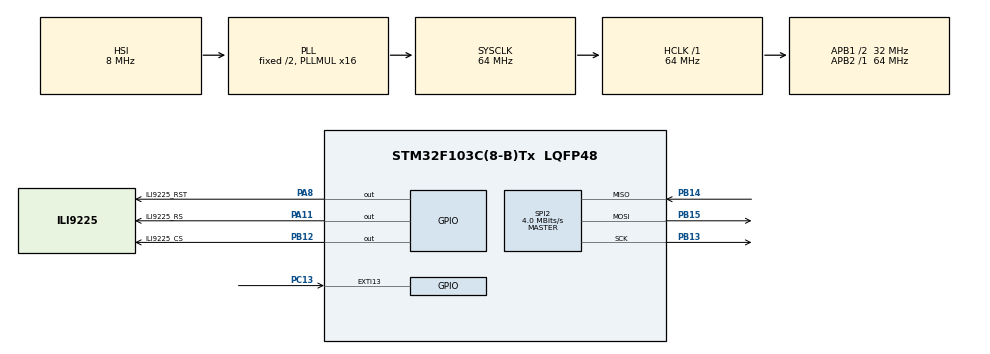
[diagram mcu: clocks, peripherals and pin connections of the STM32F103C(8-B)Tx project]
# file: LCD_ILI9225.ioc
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Mcu.Family=STM32F1
Mcu.Name=STM32F103C(8-B)Tx
Mcu.Package=LQFP48
NVIC.PriorityGroup=NVIC_PRIORITYGROUP_4
PA11.GPIO_Label=ILI9225_RS
PA11.Signal=GPIO_Output
PA13.Mode=Serial_Wire
PA13.Signal=SYS_JTMS-SWDIO
PA14.Mode=Serial_Wire
PA14.Signal=SYS_JTCK-SWCLK
PA8.GPIO_Label=ILI9225_RST
PA8.Signal=GPIO_Output
PB12.GPIO_Label=ILI9225_CS
PB12.Signal=GPIO_Output
PB13.Mode=Full_Duplex_Master
PB13.Signal=SPI2_SCK
PB14.Mode=Full_Duplex_Master
PB14.Signal=SPI2_MISO
PB15.Mode=Full_Duplex_Master
PB15.Signal=SPI2_MOSI
PC13-TAMPER-RTC.Signal=GPXTI13
PD0-OSC_IN.Mode=HSE-External-Oscillator
PD0-OSC_IN.Signal=RCC_OSC_IN
PD1-OSC_OUT.Mode=HSE-External-Oscillator
PD1-OSC_OUT.Signal=RCC_OSC_OUT
ProjectManager.HeapSize=0x200
ProjectManager.StackSize=0x400
ProjectManager.TargetToolchain=STM32CubeIDE
RCC.AHBFreq_Value=64000000
RCC.APB1CLKDivider=RCC_HCLK_DIV2
RCC.APB1Freq_Value=32000000
RCC.APB1TimFreq_Value=64000000
RCC.APB2Freq_Value=64000000
RCC.APB2TimFreq_Value=64000000
RCC.HCLKFreq_Value=64000000
RCC.PLLMUL=RCC_PLL_MUL16
RCC.SYSCLKFreq_VALUE=64000000
RCC.SYSCLKSource=RCC_SYSCLKSOURCE_PLLCLK
RCC.USBFreq_Value=64000000
SPI2.BaudRatePrescaler=SPI_BAUDRATEPRESCALER_8
SPI2.CLKPhase=SPI_PHASE_2EDGE
SPI2.CLKPolarity=SPI_POLARITY_HIGH
SPI2.CalculateBaudRate=4.0 MBits/s
SPI2.Direction=SPI_DIRECTION_2LINES
SPI2.Mode=SPI_MODE_MASTER
SPI2.VirtualType=VM_MASTER
board=custom

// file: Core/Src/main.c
/* USER CODE BEGIN Header */
/**
  ******************************************************************************
  * @file           : main.c
  * @brief          : Main program body
  ******************************************************************************
  * @attention
  *
  * Copyright (c) 2025 STMicroelectronics.
  * All rights reserved.
  *
  * This software is licensed under terms that can be found in the LICENSE file
  * in the root directory of this software component.
  * If no LICENSE file comes with this software, it is provided AS-IS.
  *
  ******************************************************************************
  */
/* USER CODE END Header */
#include "main.h"

/* USER CODE BEGIN Includes */

#include "ili9225.h"
#include "display.h"
#include <time.h>

/* USER CODE END Includes */

SPI_HandleTypeDef hspi2;

void SystemClock_Config(void);
static void MX_GPIO_Init(void);
static void MX_SPI2_Init(void);

int main(void)
{

  /* MCU Configuration--------------------------------------------------------*/

  /* Reset of all peripherals, Initializes the Flash interface and the Systick. */
  HAL_Init();

  /* Configure the system clock */
  SystemClock_Config();

  /* Initialize all configured peripherals */
  MX_GPIO_Init();
  MX_SPI2_Init();
  /* USER CODE BEGIN 2 */

  ILI9225_Init();

  display_init();

  time_t current_time = 1729594471; // Example: Wed Oct 22 14:04:31 2025
  float temperature = 25.7;
  float humidity = 75.0;
  bool wifi_connected = true;
  bool periodic_enabled = false;
  int update_interval = 5;

  /* USER CODE END 2 */

  /* Infinite loop */
  while (1)
  {

    /* USER CODE BEGIN 3 */

	   display_update(current_time, temperature, humidity,
		                       wifi_connected, periodic_enabled, update_interval);

		         /* Simulate time passing */
		         HAL_Delay(1000);
		         current_time++;

		         /* Simulate data changes every 10 seconds */
		         if (current_time % 10 == 0)
		         {
		             temperature += 0.1;
		             humidity -= 0.5;
		             if (humidity < 50.0) humidity = 75.0;
		         }
  }
  /* USER CODE END 3 */
}

void SystemClock_Config(void)
{
  RCC_OscInitTypeDef RCC_OscInitStruct = {0};
  RCC_ClkInitTypeDef RCC_ClkInitStruct = {0};

  /** Initializes the RCC Oscillators according to the specified parameters
  * in the RCC_OscInitTypeDef structure.
  */
  RCC_OscInitStruct.OscillatorType = RCC_OSCILLATORTYPE_HSI;
  RCC_OscInitStruct.HSIState = RCC_HSI_ON;
  RCC_OscInitStruct.HSICalibrationValue = RCC_HSICALIBRATION_DEFAULT;
  RCC_OscInitStruct.PLL.PLLState = RCC_PLL_ON;
  RCC_OscInitStruct.PLL.PLLSource = RCC_PLLSOURCE_HSI_DIV2;
  RCC_OscInitStruct.PLL.PLLMUL = RCC_PLL_MUL16;
  if (HAL_RCC_OscConfig(&RCC_OscInitStruct) != HAL_OK)
  {
    Error_Handler();
  }

  /** Initializes the CPU, AHB and APB buses clocks
  */
  RCC_ClkInitStruct.ClockType = RCC_CLOCKTYPE_HCLK|RCC_CLOCKTYPE_SYSCLK
                              |RCC_CLOCKTYPE_PCLK1|RCC_CLOCKTYPE_PCLK2;
  RCC_ClkInitStruct.SYSCLKSource = RCC_SYSCLKSOURCE_PLLCLK;
  RCC_ClkInitStruct.AHBCLKDivider = RCC_SYSCLK_DIV1;
  RCC_ClkInitStruct.APB1CLKDivider = RCC_HCLK_DIV2;
  RCC_ClkInitStruct.APB2CLKDivider = RCC_HCLK_DIV1;

  if (HAL_RCC_ClockConfig(&RCC_ClkInitStruct, FLASH_LATENCY_2) != HAL_OK)
  {
    Error_Handler();
  }
}

static void MX_SPI2_Init(void)
{

  /* SPI2 parameter configuration*/
  hspi2.Instance = SPI2;
  hspi2.Init.Mode = SPI_MODE_MASTER;
  hspi2.Init.Direction = SPI_DIRECTION_2LINES;
  hspi2.Init.DataSize = SPI_DATASIZE_8BIT;
  hspi2.Init.CLKPolarity = SPI_POLARITY_HIGH;
  hspi2.Init.CLKPhase = SPI_PHASE_2EDGE;
  hspi2.Init.NSS = SPI_NSS_SOFT;
  hspi2.Init.BaudRatePrescaler = SPI_BAUDRATEPRESCALER_8;
  hspi2.Init.FirstBit = SPI_FIRSTBIT_MSB;
  hspi2.Init.TIMode = SPI_TIMODE_DISABLE;
  hspi2.Init.CRCCalculation = SPI_CRCCALCULATION_DISABLE;
  hspi2.Init.CRCPolynomial = 10;
  if (HAL_SPI_Init(&hspi2) != HAL_OK)
  {
    Error_Handler();
  }

}

static void MX_GPIO_Init(void)
{
  GPIO_InitTypeDef GPIO_InitStruct = {0};

  /* GPIO Ports Clock Enable */
  __HAL_RCC_GPIOC_CLK_ENABLE();
  __HAL_RCC_GPIOD_CLK_ENABLE();
  __HAL_RCC_GPIOB_CLK_ENABLE();
  __HAL_RCC_GPIOA_CLK_ENABLE();

  /*Configure GPIO pin Output Level */
  HAL_GPIO_WritePin(ILI9225_CS_GPIO_Port, ILI9225_CS_Pin, GPIO_PIN_RESET);

  /*Configure GPIO pin Output Level */
  HAL_GPIO_WritePin(GPIOA, ILI9225_RST_Pin|ILI9225_RS_Pin, GPIO_PIN_RESET);

  /*Configure GPIO pin : PC13 */
  GPIO_InitStruct.Pin = GPIO_PIN_13;
  GPIO_InitStruct.Mode = GPIO_MODE_IT_RISING;
  GPIO_InitStruct.Pull = GPIO_NOPULL;
  HAL_GPIO_Init(GPIOC, &GPIO_InitStruct);

  /*Configure GPIO pin : ILI9225_CS_Pin */
  GPIO_InitStruct.Pin = ILI9225_CS_Pin;
  GPIO_InitStruct.Mode = GPIO_MODE_OUTPUT_PP;
  GPIO_InitStruct.Pull = GPIO_NOPULL;
  GPIO_InitStruct.Speed = GPIO_SPEED_FREQ_LOW;
  HAL_GPIO_Init(ILI9225_CS_GPIO_Port, &GPIO_InitStruct);

  /*Configure GPIO pins : ILI9225_RST_Pin ILI9225_RS_Pin */
  GPIO_InitStruct.Pin = ILI9225_RST_Pin|ILI9225_RS_Pin;
  GPIO_InitStruct.Mode = GPIO_MODE_OUTPUT_PP;
  GPIO_InitStruct.Pull = GPIO_NOPULL;
  GPIO_InitStruct.Speed = GPIO_SPEED_FREQ_LOW;
  HAL_GPIO_Init(GPIOA, &GPIO_InitStruct);

}

void Error_Handler(void)
{
  __disable_irq();
  while (1)
  {
  }
}
